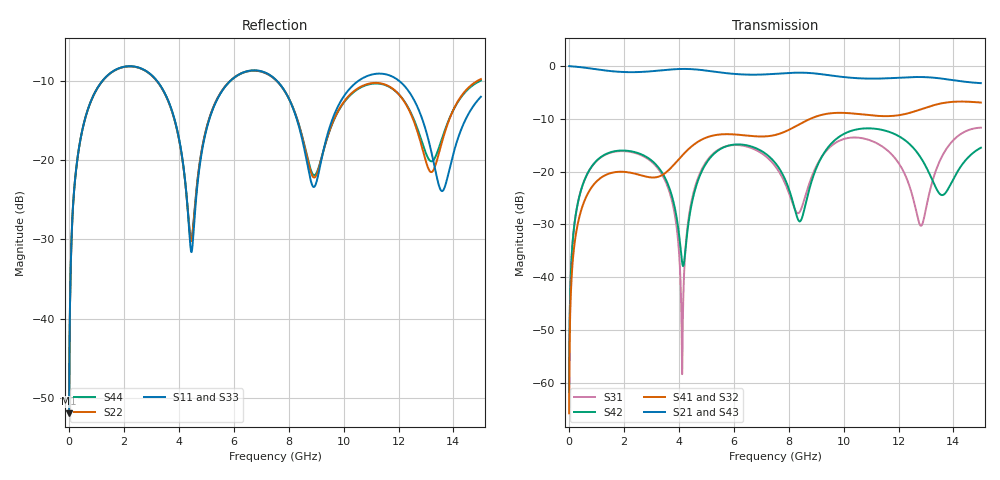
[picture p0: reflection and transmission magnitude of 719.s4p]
! Created with skrf 1.8.0 (http://scikit-rf.org).
# GHz S RI R 50.0
!freq ReS11 ImS11 ReS12 ImS12 ReS13 ImS13
! ReS14 ImS14
! ReS21 ImS21 ReS22 ImS22 ReS23 ImS23
! ReS24 ImS24
! ReS31 ImS31 ReS32 ImS32 ReS33 ImS33
! ReS34 ImS34
! ReS41 ImS41 ReS42 ImS42 ReS43 ImS43
! ReS44 ImS44
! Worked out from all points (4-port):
!   2499 points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, 5 MHz to 15 GHz, reference 50 ohm
!   strongest paths, dB at 5 MHz, 3.476 GHz, 7.19 GHz, 11.1 GHz, 15 GHz:
!     S21: 0.0, -0.8, -1.6, -2.4, -3.2
!     S43: 0.0, -0.8, -1.6, -2.4, -3.2
!     S41: -65.8, -20.4, -13.3, -9.4, -6.9
!     S32: -65.8, -20.4, -13.4, -9.5, -7.0
!     S42: -61.9, -21.0, -16.7, -11.8, -15.5
!     S31: -61.9, -21.4, -17.2, -14.3, -11.7
!   lowest |S11| = -52.0 dB at 5 MHz (marker M1), VSWR 1.01, Z = 50.2 + j0.153 ohm
!   |S11| at or under -10 dB: 3.21 GHz to 5.869 GHz (2.659 GHz wide, 58.6 % of centre); 7.581 GHz to 10.53 GHz (2.949 GHz wide, 32.6 % of centre); 12.03 GHz to end of sweep (the widest 3 of 4)
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0.005  0.00201 0.00153  0.998 -0.00391  0.000102 0.000802  -9.93e-05 -0.000503
       0.998 -0.00391  0.00201 0.00153  -9.93e-05 -0.000503  0.000102 0.000802
       0.000102 0.000802  -9.93e-05 -0.000503  0.00201 0.00153  0.998 -0.00391
       -9.93e-05 -0.000503  0.000102 0.000802  0.998 -0.00391  0.00201 0.00153
1.3193  0.2842 0.1716  0.5199 -0.7449  0.1314 0.0599  -0.0925 -0.00123
        0.5199 -0.7449  0.2831 0.1724  -0.0923 -0.00146  0.1345 0.0554
        0.1314 0.0599  -0.0923 -0.00146  0.2843 0.1715  0.5199 -0.7449
        -0.0925 -0.00123  0.1345 0.0554  0.5199 -0.7449  0.283 0.1725
4.120467  0.0476 -0.0938  -0.8907 -0.2982  0.0012 -0.000103  -0.0391 0.1365
          -0.8907 -0.2982  0.0515 -0.0901  -0.0422 0.1355  -0.0124 -0.00611
          0.0012 -0.000103  -0.0422 0.1355  0.0468 -0.0943  -0.8907 -0.2982
          -0.0391 0.1365  -0.0124 -0.00611  -0.8907 -0.2982  0.0524 -0.0899
5.164652  0.1245 0.1484  -0.8066 0.3865  0.1054 0.0933  0.1237 0.1784
          -0.8066 0.3865  0.1289 0.1484  0.1195 0.1806  0.1007 0.0934
          0.1054 0.0933  0.1195 0.1806  0.1245 0.149  -0.8066 0.3866
          0.1237 0.1784  0.1007 0.0934  -0.8066 0.3866  0.129 0.1476
8.953731  0.0684 0.0042  0.8429 0.1196  -0.0115 0.1045  0.0298 -0.3281
          0.8429 0.1196  0.078 -0.00134  0.0435 -0.3267  0.0113 0.0988
          -0.0115 0.1045  0.0435 -0.3267  0.0657 0.00548  0.8429 0.1189
          0.0298 -0.3281  0.0113 0.0988  0.8429 0.1189  0.0806 -0.00252
11.82368  0.314 -0.1146  -0.1265 -0.7604  0.1199 -0.0699  -0.3139 0.1245
          -0.1265 -0.7604  0.2676 -0.082  -0.3173 0.1028  0.1028 -0.2047
          0.1199 -0.0699  -0.3173 0.1028  0.3192 -0.1216  -0.127 -0.759
          -0.3139 0.1245  0.1028 -0.2047  -0.127 -0.759  0.2692 -0.0734
15  0.2282 0.1062  -0.4833 0.4909  0.2574 -0.0416  0.3779 0.2468
    -0.4833 0.4909  0.3131 0.0888  0.3566 0.2716  0.1657 -0.0299
    0.2574 -0.0416  0.3566 0.2716  0.231 0.106  -0.4832 0.4925
    0.3779 0.2468  0.1657 -0.0299  -0.4832 0.4925  0.308 0.0806
